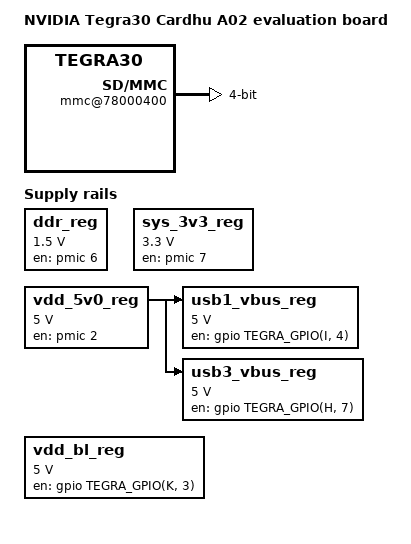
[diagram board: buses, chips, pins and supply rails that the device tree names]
// SPDX-License-Identifier: GPL-2.0
/dts-v1/;

#include "tegra30-cardhu.dtsi"

/* This dts file support the cardhu A02 version of board */

/ {
	model = "NVIDIA Tegra30 Cardhu A02 evaluation board";
	compatible = "nvidia,cardhu-a02", "nvidia,cardhu", "nvidia,tegra30";

	mmc@78000400 {
		status = "okay";
		power-gpios = <&gpio TEGRA_GPIO(D, 4) GPIO_ACTIVE_HIGH>;
		bus-width = <4>;
		keep-power-in-suspend;
	};

	ddr_reg: regulator-ddr {
		compatible = "regulator-fixed";
		regulator-name = "vdd_ddr";
		regulator-min-microvolt = <1500000>;
		regulator-max-microvolt = <1500000>;
		regulator-always-on;
		regulator-boot-on;
		enable-active-high;
		gpio = <&pmic 6 GPIO_ACTIVE_HIGH>;
	};

	sys_3v3_reg: regulator-3v3 {
		compatible = "regulator-fixed";
		regulator-name = "sys_3v3";
		regulator-min-microvolt = <3300000>;
		regulator-max-microvolt = <3300000>;
		regulator-always-on;
		regulator-boot-on;
		enable-active-high;
		gpio = <&pmic 7 GPIO_ACTIVE_HIGH>;
	};

	usb1_vbus_reg: regulator-usb1 {
		compatible = "regulator-fixed";
		regulator-name = "usb1_vbus";
		regulator-min-microvolt = <5000000>;
		regulator-max-microvolt = <5000000>;
		enable-active-high;
		gpio = <&gpio TEGRA_GPIO(I, 4) GPIO_ACTIVE_HIGH>;
		gpio-open-drain;
		vin-supply = <&vdd_5v0_reg>;
	};

	usb3_vbus_reg: regulator-usb3 {
		compatible = "regulator-fixed";
		regulator-name = "usb3_vbus";
		regulator-min-microvolt = <5000000>;
		regulator-max-microvolt = <5000000>;
		enable-active-high;
		gpio = <&gpio TEGRA_GPIO(H, 7) GPIO_ACTIVE_HIGH>;
		gpio-open-drain;
		vin-supply = <&vdd_5v0_reg>;
	};

	vdd_5v0_reg: regulator-5v0 {
		compatible = "regulator-fixed";
		regulator-name = "5v0";
		regulator-min-microvolt = <5000000>;
		regulator-max-microvolt = <5000000>;
		enable-active-high;
		gpio = <&pmic 2 GPIO_ACTIVE_HIGH>;
	};

	vdd_bl_reg: regulator-bl {
		compatible = "regulator-fixed";
		regulator-name = "vdd_bl";
		regulator-min-microvolt = <5000000>;
		regulator-max-microvolt = <5000000>;
		regulator-always-on;
		regulator-boot-on;
		enable-active-high;
		gpio = <&gpio TEGRA_GPIO(K, 3) GPIO_ACTIVE_HIGH>;
	};
};

